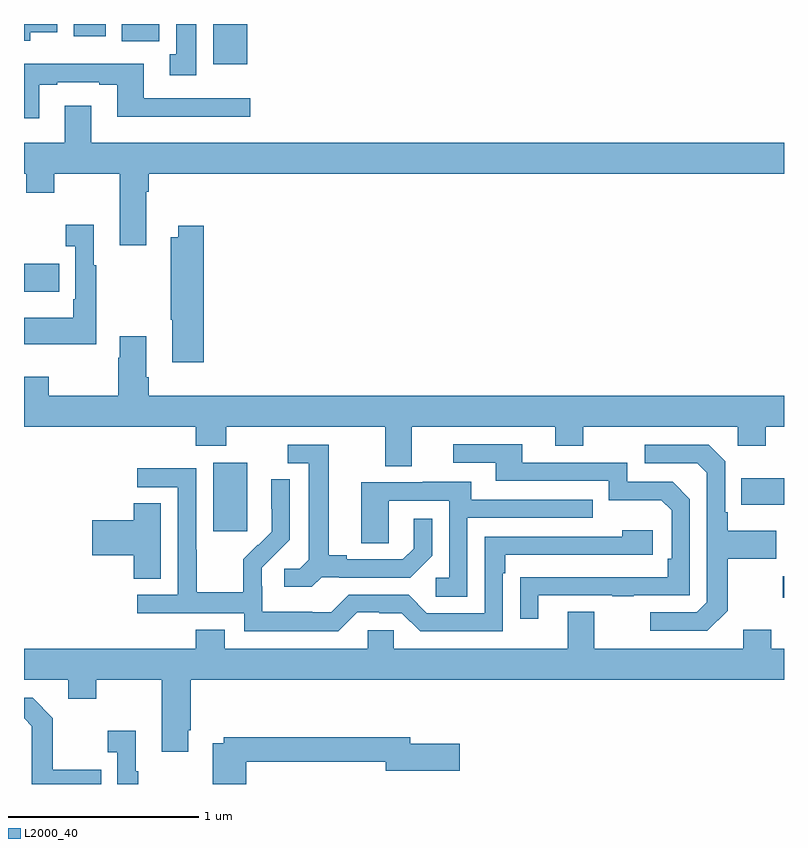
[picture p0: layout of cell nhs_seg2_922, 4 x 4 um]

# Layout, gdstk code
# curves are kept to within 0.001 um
import gdstk
lib = gdstk.Library(unit=1e-6, precision=1e-09)
def R(c, l, rs):  # rectangles x0, y0, x1, y1
    for r in rs: c.add(gdstk.rectangle(r[:2], r[2:], *l))
def P(c, l, *ps):  # polygons
    for p in ps: c.add(gdstk.Polygon(p, *l))
L2000_40 = (2000, 40)

nhs_seg2_922 = lib.new_cell('nhs_seg2_922')
R(nhs_seg2_922, L2000_40, [(162.993,602.781,163,602.894), (159.995,603.129,160.174,603.49), (162.775,603.269,163,603.409), (159,604.391,159.185,604.539), (159.995,605.588,160.174,605.8), (159.515,605.708,159.712,605.8), (159.263,605.736,159.43,605.8)])
P(nhs_seg2_922, L2000_40, [(159.034,605.756),(159.175,605.756),(159.175,605.8),(159,605.8),(159,605.712),(159.034,605.712)],
  [(159.907,605.8),(159.8,605.8),(159.8,605.642),(159.767,605.642),(159.767,605.529),(159.907,605.529)],
  [(159.079,605.481),(159.175,605.481),(159.175,605.493),(159.395,605.493),(159.395,605.481),(159.491,605.481),(159.491,605.312),(160.192,605.312),(160.192,605.409),(159.631,605.409),(159.631,605.59),(159,605.59),(159,605.304),(159.079,605.304)],
  [(159.643,604.916),(159.656,604.916),(159.656,605.012),(163,605.012),(163,605.176),(159.355,605.176),(159.355,605.371),(159.215,605.371),(159.215,605.176),(159,605.176),(159,605.012),(159.011,605.012),(159.011,604.913),(159.159,604.913),(159.159,605.012),(159.503,605.012),(159.503,604.635),(159.643,604.635)],
  [(159.379,604.531),(159.367,604.531),(159.367,604.744),(159.219,604.744),(159.219,604.631),(159.27,604.631),(159.27,604.351),(159.258,604.351),(159.258,604.255),(159.001,604.255),(159.001,604.115),(159.379,604.115)],
  [(159.947,604.738),(159.812,604.738),(159.812,604.678),(159.772,604.678),(159.772,604.243),(159.779,604.243),(159.779,604.02),(159.947,604.02)],
  [(161.041,603.68),(161.795,603.68),(161.795,603.581),(161.943,603.581),(161.943,603.68),(162.756,603.68),(162.756,603.581),(162.903,603.581),(162.903,603.68),(163,603.68),(163,603.844),(159.656,603.844),(159.656,603.94),(159.643,603.94),(159.643,604.156),(159.503,604.156),(159.503,604.043),(159.496,604.043),(159.496,603.844),(159.129,603.844),(159.129,603.943),(159,603.943),(159,603.68),(159.905,603.68),(159.905,603.581),(160.065,603.581),(160.065,603.68),(160.901,603.68),(160.901,603.472),(161.041,603.472)],
  [(161.707,602.793),(162.097,602.793),(162.097,602.788),(162.209,602.788),(162.209,602.793),(162.504,602.793),(162.504,603.3),(162.414,603.39),(162.174,603.39),(162.174,603.492),(161.623,603.492),(161.623,603.588),(161.259,603.588),(161.259,603.492),(161.483,603.492),(161.483,603.396),(162.078,603.396),(162.078,603.293),(162.355,603.293),(162.408,603.24),(162.408,602.986),(162.388,602.986),(162.388,602.889),(161.611,602.888),(161.611,602.67),(161.707,602.67)],
  [(160.566,602.889),(160.66,602.889),(160.66,602.886),(161.032,602.886),(161.148,603.002),(161.148,603.196),(161.051,603.196),(161.051,603.039),(160.994,602.982),(160.699,602.982),(160.699,603.005),(160.603,603.005),(160.603,603.585),(160.389,603.585),(160.389,603.489),(160.499,603.489),(160.499,602.981),(160.452,602.934),(160.371,602.934),(160.371,602.837),(160.514,602.837)],
  [(162.703,602.713),(162.703,602.986),(162.959,602.986),(162.959,603.133),(162.703,603.133),(162.703,603.229),(162.69,603.229),(162.69,603.498),(162.603,603.585),(162.267,603.585),(162.267,603.489),(162.543,603.489),(162.594,603.438),(162.594,602.757),(162.54,602.703),(162.297,602.703),(162.297,602.607),(162.597,602.607)],
  [(160.755,602.703),(160.871,602.703),(160.871,602.7),(160.989,602.7),(161.085,602.604),(161.52,602.604),(161.52,602.909),(161.533,602.909),(161.533,603.006),(162.31,603.006),(162.31,603.136),(162.149,603.136),(162.149,603.102),(161.424,603.102),(161.424,602.7),(161.121,602.7),(161.025,602.796),(160.71,602.796),(160.617,602.703),(160.517,602.703),(160.517,602.707),(160.254,602.707),(160.254,602.841),(160.252,602.841),(160.252,602.938),(160.398,603.086),(160.398,603.404),(160.302,603.404),(160.302,603.25),(160.304,603.25),(160.304,603.128),(160.233,603.057),(160.23,603.06),(160.153,602.983),(160.153,602.809),(159.909,602.809),(159.909,603.032),(159.906,603.032),(159.906,603.462),(159.597,603.462),(159.597,603.363),(159.81,603.363),(159.81,602.796),(159.597,602.796),(159.597,602.7),(160.158,602.7),(160.158,602.603),(160.655,602.603)],
  [(161.334,603.201),(161.993,603.201),(161.993,603.297),(161.353,603.297),(161.353,603.391),(161.099,603.391),(161.099,603.387),(160.775,603.387),(160.775,603.067),(160.92,603.067),(160.92,603.291),(161.238,603.291),(161.238,602.886),(161.166,602.886),(161.166,602.785),(161.334,602.785)],
  [(159.721,603.278),(159.578,603.278),(159.578,603.188),(159.36,603.188),(159.36,603.005),(159.578,603.005),(159.578,602.881),(159.721,602.881)],
  [(159.865,602.083),(159.878,602.083),(159.878,602.348),(163,602.348),(163,602.512),(162.933,602.512),(162.933,602.611),(162.785,602.611),(162.785,602.512),(162.001,602.512),(162.001,602.707),(161.861,602.707),(161.861,602.512),(160.947,602.512),(160.947,602.61),(160.809,602.61),(160.809,602.512),(160.057,602.512),(160.057,602.611),(159.905,602.611),(159.905,602.512),(159,602.512),(159,602.348),(159.233,602.348),(159.233,602.249),(159.381,602.249),(159.381,602.348),(159.725,602.348),(159.725,601.971),(159.865,601.971)],
  [(159.407,601.875),(159.151,601.875),(159.151,602.147),(159.045,602.253),(159,602.253),(159,602.145),(159.042,602.103),(159.042,601.8),(159.407,601.8)],
  [(159.601,601.867),(159.589,601.867),(159.589,602.08),(159.441,602.08),(159.441,601.967),(159.492,601.967),(159.492,601.8),(159.601,601.8)],
  [(160.169,601.918),(160.904,601.918),(160.904,601.871),(161.293,601.871),(161.293,602.013),(161.032,602.013),(161.032,602.047),(160.05,602.047),(160.05,602.014),(159.994,602.014),(159.994,601.8),(160.169,601.8)])

lib.write_gds('nhs_seg2_922.gds')
